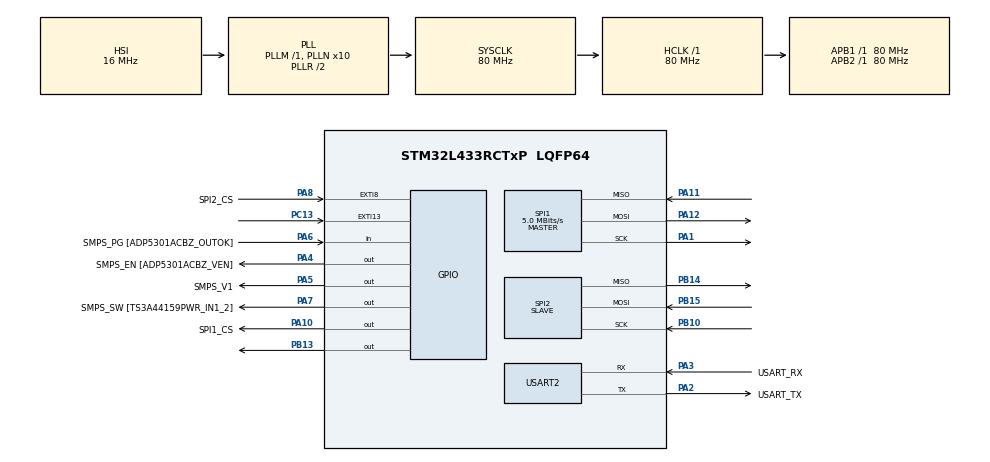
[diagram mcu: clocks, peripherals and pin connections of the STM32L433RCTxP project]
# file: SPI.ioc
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Mcu.Family=STM32L4
Mcu.Name=STM32L433RCTxP
Mcu.Package=LQFP64
NVIC.EXTI15_10_IRQn=true\:0\:0\:false\:false\:true\:true\:true\:true
NVIC.EXTI9_5_IRQn=true\:0\:0\:false\:false\:true\:true\:true\:true
NVIC.PriorityGroup=NVIC_PRIORITYGROUP_4
PA1.Mode=Full_Duplex_Master
PA1.Signal=SPI1_SCK
PA10.GPIO_Label=SPI1_CS
PA10.PinState=GPIO_PIN_SET
PA10.Signal=GPIO_Output
PA11.Mode=Full_Duplex_Master
PA11.Signal=SPI1_MISO
PA12.Mode=Full_Duplex_Master
PA12.Signal=SPI1_MOSI
PA14\ (JTCK-SWCLK).GPIO_Label=TCK
PA14\ (JTCK-SWCLK).Signal=SYS_JTCK-SWCLK
PA2.GPIO_Label=USART_TX
PA2.GPIO_Mode=GPIO_MODE_AF_PP
PA2.GPIO_PuPd=GPIO_NOPULL
PA2.GPIO_Speed=GPIO_SPEED_FREQ_VERY_HIGH
PA2.Mode=Asynchronous
PA2.Signal=USART2_TX
PA3.GPIO_Label=USART_RX
PA3.GPIO_Mode=GPIO_MODE_AF_PP
PA3.GPIO_PuPd=GPIO_NOPULL
PA3.GPIO_Speed=GPIO_SPEED_FREQ_VERY_HIGH
PA3.Mode=Asynchronous
PA3.Signal=USART2_RX
PA4.GPIO_Label=SMPS_EN [ADP5301ACBZ_VEN]
PA4.Signal=GPIO_Output
PA5.GPIO_Label=SMPS_V1
PA5.GPIO_ModeDefaultOutputPP=GPIO_MODE_OUTPUT_PP
PA5.GPIO_PuPd=GPIO_NOPULL
PA5.GPIO_Speed=GPIO_SPEED_FREQ_LOW
PA5.Signal=GPIO_Output
PA6.GPIO_Label=SMPS_PG [ADP5301ACBZ_OUTOK]
PA6.GPIO_PuPd=GPIO_PULLUP
PA6.Signal=GPIO_Input
PA7.GPIO_Label=SMPS_SW [TS3A44159PWR_IN1_2]
PA7.Signal=GPIO_Output
PA8.GPIO_Label=SPI2_CS
PA8.GPIO_ModeDefaultEXTI=GPIO_MODE_IT_FALLING
PA8.GPIO_PuPd=GPIO_PULLUP
PA8.Signal=GPXTI8
PB10.Mode=Full_Duplex_Slave
PB10.Signal=SPI2_SCK
PB13.Signal=GPIO_Output
PB14.Mode=Full_Duplex_Slave
PB14.Signal=SPI2_MISO
PB15.Mode=Full_Duplex_Slave
PB15.Signal=SPI2_MOSI
PB3\ (JTDO-TRACESWO).GPIO_Label=SWO
PB3\ (JTDO-TRACESWO).Signal=SYS_JTDO-SWO
PC13.GPIO_ModeDefaultEXTI=GPIO_MODE_IT_RISING
PC13.Signal=GPXTI13
PC14-OSC32_IN\ (PC14).Mode=LSE-External-Oscillator
PC14-OSC32_IN\ (PC14).Signal=RCC_OSC32_IN
PC15-OSC32_OUT\ (PC15).Mode=LSE-External-Oscillator
PC15-OSC32_OUT\ (PC15).Signal=RCC_OSC32_OUT
PH0-OSC_IN\ (PH0).GPIO_Label=MCO
PH0-OSC_IN\ (PH0).Mode=HSE-External-Clock-Source
PH0-OSC_IN\ (PH0).Signal=RCC_OSC_IN
PH1-OSC_OUT\ (PH1).Signal=RCC_OSC_OUT
ProjectManager.HeapSize=0x200
ProjectManager.StackSize=0x400
ProjectManager.TargetToolchain=EWARM V8.32
RCC.ADCFreq_Value=64000000
RCC.AHBFreq_Value=80000000
RCC.APB1Freq_Value=80000000
RCC.APB1TimFreq_Value=80000000
RCC.APB2Freq_Value=80000000
RCC.APB2TimFreq_Value=80000000
RCC.CortexFreq_Value=80000000
RCC.HCLKFreq_Value=80000000
RCC.HSE_VALUE=8000000
RCC.HSI48_VALUE=48000000
RCC.HSI_VALUE=16000000
RCC.MSI_VALUE=4000000
RCC.PLLN=10
RCC.PLLSourceVirtual=RCC_PLLSOURCE_HSI
RCC.PREFETCH_ENABLE=1
RCC.SYSCLKFreq_VALUE=80000000
RCC.SYSCLKSource=RCC_SYSCLKSOURCE_PLLCLK
RCC.USBFreq_Value=64000000
RCC.VCOOutputFreq_Value=160000000
SPI1.BaudRatePrescaler=SPI_BAUDRATEPRESCALER_16
SPI1.CLKPhase=SPI_PHASE_2EDGE
SPI1.CalculateBaudRate=5.0 MBits/s
SPI1.DataSize=SPI_DATASIZE_8BIT
SPI1.Direction=SPI_DIRECTION_2LINES
SPI1.Mode=SPI_MODE_MASTER
SPI1.VirtualType=VM_MASTER
SPI2.CLKPhase=SPI_PHASE_2EDGE
SPI2.DataSize=SPI_DATASIZE_8BIT
SPI2.Direction=SPI_DIRECTION_2LINES
SPI2.Mode=SPI_MODE_SLAVE
SPI2.VirtualType=VM_SLAVE
USART2.VirtualMode-Asynchronous=VM_ASYNC
board=NUCLEO-L433RC-P

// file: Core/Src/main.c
/* USER CODE BEGIN Header */
/**
  ******************************************************************************
  * @file           : main.c
  * @brief          : Main program body
  ******************************************************************************
  * @attention
  *
  * Copyright (c) 2022 STMicroelectronics.
  * All rights reserved.
  *
  * This software is licensed under terms that can be found in the LICENSE file
  * in the root directory of this software component.
  * If no LICENSE file comes with this software, it is provided AS-IS.
  *
  ******************************************************************************
  */
/* USER CODE END Header */
#include "main.h"

SPI_HandleTypeDef hspi1;
SPI_HandleTypeDef hspi2;

UART_HandleTypeDef huart2;

/* USER CODE BEGIN PV */
uint8_t Test_rx[10];
void HAL_GPIO_EXTI_Callback(uint16_t GPIO_Pin){
  if(GPIO_Pin == GPIO_PIN_8){
    HAL_GPIO_WritePin(GPIOB,GPIO_PIN_13,1);

    HAL_SPI_Receive(&hspi2, Test_rx, 4, 0);

  }

}

/* USER CODE END PV */

void SystemClock_Config(void);
static void MX_GPIO_Init(void);
static void MX_USART2_UART_Init(void);
static void MX_SPI2_Init(void);
static void MX_SPI1_Init(void);

int main(void)
{

  /* MCU Configuration--------------------------------------------------------*/

  /* Reset of all peripherals, Initializes the Flash interface and the Systick. */
  HAL_Init();

  /* Configure the system clock */
  SystemClock_Config();

  /* Initialize all configured peripherals */
  MX_GPIO_Init();
  MX_USART2_UART_Init();
  MX_SPI2_Init();
  MX_SPI1_Init();
  /* USER CODE BEGIN 2 */
uint8_t T_buffer[10] ="Hello!\r\n";
  /* USER CODE END 2 */

  /* Infinite loop */
  /* USER CODE BEGIN WHILE */
  while (1)
  {
    HAL_GPIO_WritePin(GPIOB,GPIO_PIN_13,0);
    HAL_GPIO_WritePin(GPIOA,GPIO_PIN_10,1);
    HAL_Delay(1);
    //Read Test | buffer change
    T_buffer[2]++;
    if(T_buffer[2] > 88 ) T_buffer[2]=1;

    HAL_SPI_Transmit(&hspi1, T_buffer, 4, 1000);
    HAL_Delay(1);
    HAL_GPIO_WritePin(GPIOA,GPIO_PIN_10,0);
    HAL_Delay(500);

    /* USER CODE END WHILE */

  }
}

void SystemClock_Config(void)
{
  RCC_OscInitTypeDef RCC_OscInitStruct = {0};
  RCC_ClkInitTypeDef RCC_ClkInitStruct = {0};

  /** Configure the main internal regulator output voltage
  */
  if (HAL_PWREx_ControlVoltageScaling(PWR_REGULATOR_VOLTAGE_SCALE1) != HAL_OK)
  {
    Error_Handler();
  }

  /** Initializes the RCC Oscillators according to the specified parameters
  * in the RCC_OscInitTypeDef structure.
  */
  RCC_OscInitStruct.OscillatorType = RCC_OSCILLATORTYPE_HSI;
  RCC_OscInitStruct.HSIState = RCC_HSI_ON;
  RCC_OscInitStruct.HSICalibrationValue = RCC_HSICALIBRATION_DEFAULT;
  RCC_OscInitStruct.PLL.PLLState = RCC_PLL_ON;
  RCC_OscInitStruct.PLL.PLLSource = RCC_PLLSOURCE_HSI;
  RCC_OscInitStruct.PLL.PLLM = 1;
  RCC_OscInitStruct.PLL.PLLN = 10;
  RCC_OscInitStruct.PLL.PLLP = RCC_PLLP_DIV7;
  RCC_OscInitStruct.PLL.PLLQ = RCC_PLLQ_DIV2;
  RCC_OscInitStruct.PLL.PLLR = RCC_PLLR_DIV2;
  if (HAL_RCC_OscConfig(&RCC_OscInitStruct) != HAL_OK)
  {
    Error_Handler();
  }

  /** Initializes the CPU, AHB and APB buses clocks
  */
  RCC_ClkInitStruct.ClockType = RCC_CLOCKTYPE_HCLK|RCC_CLOCKTYPE_SYSCLK
                              |RCC_CLOCKTYPE_PCLK1|RCC_CLOCKTYPE_PCLK2;
  RCC_ClkInitStruct.SYSCLKSource = RCC_SYSCLKSOURCE_PLLCLK;
  RCC_ClkInitStruct.AHBCLKDivider = RCC_SYSCLK_DIV1;
  RCC_ClkInitStruct.APB1CLKDivider = RCC_HCLK_DIV1;
  RCC_ClkInitStruct.APB2CLKDivider = RCC_HCLK_DIV1;

  if (HAL_RCC_ClockConfig(&RCC_ClkInitStruct, FLASH_LATENCY_4) != HAL_OK)
  {
    Error_Handler();
  }
}

static void MX_SPI1_Init(void)
{

  /* SPI1 parameter configuration*/
  hspi1.Instance = SPI1;
  hspi1.Init.Mode = SPI_MODE_MASTER;
  hspi1.Init.Direction = SPI_DIRECTION_2LINES;
  hspi1.Init.DataSize = SPI_DATASIZE_8BIT;
  hspi1.Init.CLKPolarity = SPI_POLARITY_LOW;
  hspi1.Init.CLKPhase = SPI_PHASE_2EDGE;
  hspi1.Init.NSS = SPI_NSS_SOFT;
  hspi1.Init.BaudRatePrescaler = SPI_BAUDRATEPRESCALER_16;
  hspi1.Init.FirstBit = SPI_FIRSTBIT_MSB;
  hspi1.Init.TIMode = SPI_TIMODE_DISABLE;
  hspi1.Init.CRCCalculation = SPI_CRCCALCULATION_DISABLE;
  hspi1.Init.CRCPolynomial = 7;
  hspi1.Init.CRCLength = SPI_CRC_LENGTH_DATASIZE;
  hspi1.Init.NSSPMode = SPI_NSS_PULSE_DISABLE;
  if (HAL_SPI_Init(&hspi1) != HAL_OK)
  {
    Error_Handler();
  }

}

static void MX_SPI2_Init(void)
{

  /* SPI2 parameter configuration*/
  hspi2.Instance = SPI2;
  hspi2.Init.Mode = SPI_MODE_SLAVE;
  hspi2.Init.Direction = SPI_DIRECTION_2LINES;
  hspi2.Init.DataSize = SPI_DATASIZE_8BIT;
  hspi2.Init.CLKPolarity = SPI_POLARITY_LOW;
  hspi2.Init.CLKPhase = SPI_PHASE_2EDGE;
  hspi2.Init.NSS = SPI_NSS_SOFT;
  hspi2.Init.FirstBit = SPI_FIRSTBIT_MSB;
  hspi2.Init.TIMode = SPI_TIMODE_DISABLE;
  hspi2.Init.CRCCalculation = SPI_CRCCALCULATION_DISABLE;
  hspi2.Init.CRCPolynomial = 7;
  hspi2.Init.CRCLength = SPI_CRC_LENGTH_DATASIZE;
  hspi2.Init.NSSPMode = SPI_NSS_PULSE_DISABLE;
  if (HAL_SPI_Init(&hspi2) != HAL_OK)
  {
    Error_Handler();
  }

}

static void MX_USART2_UART_Init(void)
{

  huart2.Instance = USART2;
  huart2.Init.BaudRate = 115200;
  huart2.Init.WordLength = UART_WORDLENGTH_8B;
  huart2.Init.StopBits = UART_STOPBITS_1;
  huart2.Init.Parity = UART_PARITY_NONE;
  huart2.Init.Mode = UART_MODE_TX_RX;
  huart2.Init.HwFlowCtl = UART_HWCONTROL_NONE;
  huart2.Init.OverSampling = UART_OVERSAMPLING_16;
  huart2.Init.OneBitSampling = UART_ONE_BIT_SAMPLE_DISABLE;
  huart2.AdvancedInit.AdvFeatureInit = UART_ADVFEATURE_NO_INIT;
  if (HAL_UART_Init(&huart2) != HAL_OK)
  {
    Error_Handler();
  }

}

static void MX_GPIO_Init(void)
{
  GPIO_InitTypeDef GPIO_InitStruct = {0};

  /* GPIO Ports Clock Enable */
  __HAL_RCC_GPIOC_CLK_ENABLE();
  __HAL_RCC_GPIOH_CLK_ENABLE();
  __HAL_RCC_GPIOA_CLK_ENABLE();
  __HAL_RCC_GPIOB_CLK_ENABLE();

  /*Configure GPIO pin Output Level */
  HAL_GPIO_WritePin(GPIOA, SMPS_EN_Pin|SMPS_V1_Pin|SMPS_SW_Pin, GPIO_PIN_RESET);

  /*Configure GPIO pin Output Level */
  HAL_GPIO_WritePin(GPIOB, GPIO_PIN_13, GPIO_PIN_RESET);

  /*Configure GPIO pin Output Level */
  HAL_GPIO_WritePin(SPI1_CS_GPIO_Port, SPI1_CS_Pin, GPIO_PIN_SET);

  /*Configure GPIO pin : PC13 */
  GPIO_InitStruct.Pin = GPIO_PIN_13;
  GPIO_InitStruct.Mode = GPIO_MODE_IT_RISING;
  GPIO_InitStruct.Pull = GPIO_NOPULL;
  HAL_GPIO_Init(GPIOC, &GPIO_InitStruct);

  /*Configure GPIO pins : SMPS_EN_Pin SMPS_V1_Pin SMPS_SW_Pin SPI1_CS_Pin */
  GPIO_InitStruct.Pin = SMPS_EN_Pin|SMPS_V1_Pin|SMPS_SW_Pin|SPI1_CS_Pin;
  GPIO_InitStruct.Mode = GPIO_MODE_OUTPUT_PP;
  GPIO_InitStruct.Pull = GPIO_NOPULL;
  GPIO_InitStruct.Speed = GPIO_SPEED_FREQ_LOW;
  HAL_GPIO_Init(GPIOA, &GPIO_InitStruct);

  /*Configure GPIO pin : SMPS_PG_Pin */
  GPIO_InitStruct.Pin = SMPS_PG_Pin;
  GPIO_InitStruct.Mode = GPIO_MODE_INPUT;
  GPIO_InitStruct.Pull = GPIO_PULLUP;
  HAL_GPIO_Init(SMPS_PG_GPIO_Port, &GPIO_InitStruct);

  /*Configure GPIO pin : PB13 */
  GPIO_InitStruct.Pin = GPIO_PIN_13;
  GPIO_InitStruct.Mode = GPIO_MODE_OUTPUT_PP;
  GPIO_InitStruct.Pull = GPIO_NOPULL;
  GPIO_InitStruct.Speed = GPIO_SPEED_FREQ_LOW;
  HAL_GPIO_Init(GPIOB, &GPIO_InitStruct);

  /*Configure GPIO pin : SPI2_CS_Pin */
  GPIO_InitStruct.Pin = SPI2_CS_Pin;
  GPIO_InitStruct.Mode = GPIO_MODE_IT_FALLING;
  GPIO_InitStruct.Pull = GPIO_PULLUP;
  HAL_GPIO_Init(SPI2_CS_GPIO_Port, &GPIO_InitStruct);

  /* EXTI interrupt init*/
  HAL_NVIC_SetPriority(EXTI9_5_IRQn, 0, 0);
  HAL_NVIC_EnableIRQ(EXTI9_5_IRQn);

  HAL_NVIC_SetPriority(EXTI15_10_IRQn, 0, 0);
  HAL_NVIC_EnableIRQ(EXTI15_10_IRQn);

}

void Error_Handler(void)
{
  __disable_irq();
  while (1)
  {
  }
}
